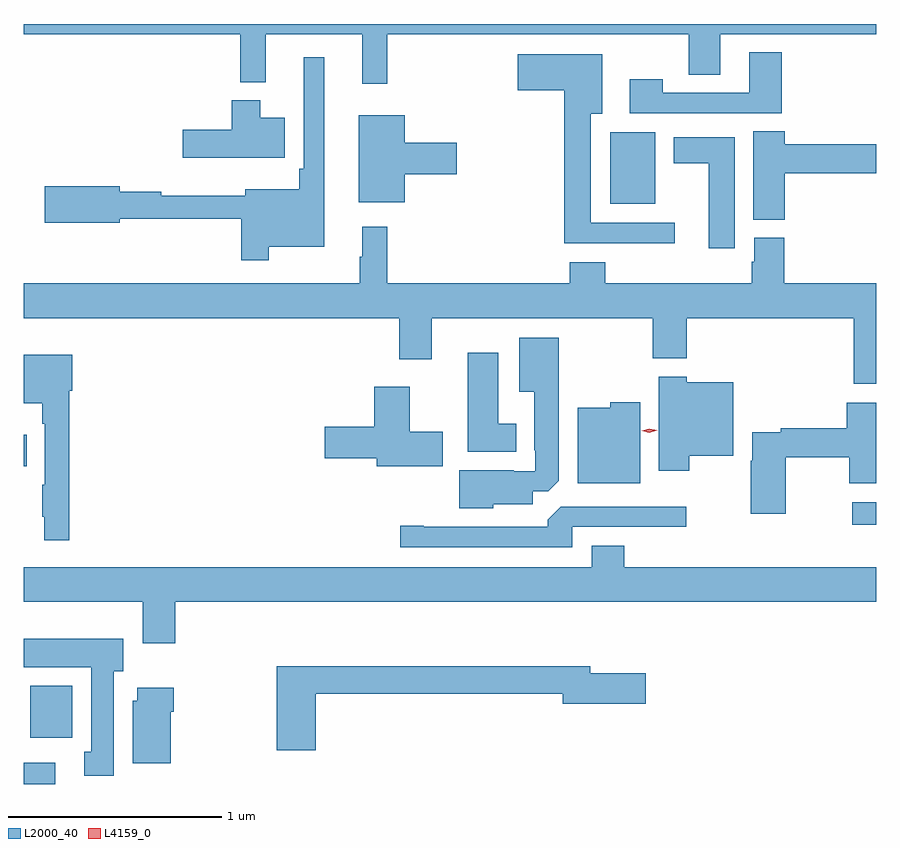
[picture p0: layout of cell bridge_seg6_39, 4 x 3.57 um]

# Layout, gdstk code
import gdstk
lib = gdstk.Library(unit=1e-6, precision=1e-09)
def R(c, l, rs):  # rectangles x0, y0, x1, y1
    for r in rs: c.add(gdstk.rectangle(r[:2], r[2:], *l))
def P(c, l, *ps):  # polygons
    for p in ps: c.add(gdstk.Polygon(p, *l))
L2000_40 = (2000, 40)
L4159_0 = (4159, 0)

bridge_seg6_39 = lib.new_cell('bridge_seg6_39')
R(bridge_seg6_39, L2000_40, [(1068.796,994.434,1068.943,994.534), (1068.827,994.652,1069.024,994.894), (1072.683,995.651,1072.796,995.755), (1068.796,995.926,1068.809,996.073), (1071.548,997.157,1071.76,997.492)])
P(bridge_seg6_39, L2000_40, [(1070.501,997.952),(1071.916,997.952),(1071.916,997.762),(1072.063,997.762),(1072.063,997.952),(1072.796,997.952),(1072.796,998),(1068.796,998),(1068.796,997.952),(1069.813,997.952),(1069.813,997.727),(1069.931,997.727),(1069.931,997.952),(1070.384,997.952),(1070.384,997.719),(1070.501,997.719)],
  [(1072.352,997.867),(1072.199,997.867),(1072.199,997.677),(1071.795,997.677),(1071.795,997.741),(1071.639,997.741),(1071.639,997.581),(1072.352,997.581)],
  [(1071.85,997.068),(1071.457,997.068),(1071.457,997.58),(1071.511,997.58),(1071.511,997.858),(1071.114,997.858),(1071.114,997.688),(1071.332,997.688),(1071.332,996.971),(1071.85,996.971)],
  [(1069.945,996.956),(1070.206,996.956),(1070.206,997.843),(1070.109,997.843),(1070.109,997.321),(1070.089,997.321),(1070.089,997.225),(1069.835,997.225),(1069.835,997.195),(1069.442,997.195),(1069.442,997.214),(1069.246,997.214),(1069.246,997.238),(1068.894,997.238),(1068.894,997.067),(1069.246,997.067),(1069.246,997.086),(1069.816,997.086),(1069.816,996.891),(1069.945,996.891)],
  [(1070.02,997.561),(1069.906,997.561),(1069.906,997.642),(1069.772,997.642),(1069.772,997.503),(1069.542,997.503),(1069.542,997.373),(1070.02,997.373)],
  [(1070.584,997.295),(1070.827,997.295),(1070.827,997.442),(1070.584,997.442),(1070.584,997.573),(1070.369,997.573),(1070.369,997.163),(1070.584,997.163)],
  [(1072.367,997.3),(1072.796,997.3),(1072.796,997.436),(1072.367,997.436),(1072.367,997.496),(1072.22,997.496),(1072.22,997.081),(1072.367,997.081)],
  [(1072.132,997.468),(1071.845,997.468),(1071.845,997.346),(1072.01,997.346),(1072.01,996.948),(1072.132,996.948)],
  [(1072.796,996.784),(1072.364,996.784),(1072.364,996.996),(1072.223,996.996),(1072.223,996.885),(1072.211,996.885),(1072.211,996.784),(1071.524,996.784),(1071.524,996.883),(1071.359,996.883),(1071.359,996.784),(1070.501,996.784),(1070.501,997.048),(1070.384,997.048),(1070.384,996.908),(1070.373,996.908),(1070.373,996.784),(1068.796,996.784),(1068.796,996.62),(1070.558,996.62),(1070.558,996.426),(1070.71,996.426),(1070.71,996.62),(1071.748,996.62),(1071.748,996.431),(1071.908,996.431),(1071.908,996.62),(1072.69,996.62),(1072.69,996.312),(1072.796,996.312)],
  [(1071,995.747),(1071.184,995.747),(1071.184,995.808),(1071.258,995.808),(1071.307,995.857),(1071.307,996.529),(1071.122,996.529),(1071.122,996.275),(1071.191,996.275),(1071.191,996.001),(1071.195,996.001),(1071.195,995.901),(1071.095,995.901),(1071.095,995.905),(1070.84,995.905),(1070.84,995.729),(1071,995.729)],
  [(1071.106,996.124),(1071.022,996.124),(1071.022,996.457),(1070.879,996.457),(1070.879,995.993),(1071.106,995.993)],
  [(1069.01,996.278),(1069.024,996.278),(1069.024,996.448),(1068.796,996.448),(1068.796,996.221),(1068.882,996.221),(1068.882,996.125),(1068.894,996.125),(1068.894,995.837),(1068.882,995.837),(1068.882,995.689),(1068.893,995.689),(1068.893,995.577),(1069.01,995.577)],
  [(1071.918,995.975),(1072.126,995.975),(1072.126,996.319),(1071.906,996.319),(1071.906,996.346),(1071.776,996.346),(1071.776,995.904),(1071.918,995.904)],
  [(1070.761,996.087),(1070.608,996.087),(1070.608,996.298),(1070.441,996.298),(1070.441,996.11),(1070.208,996.11),(1070.208,995.963),(1070.453,995.963),(1070.453,995.924),(1070.761,995.924)],
  [(1071.688,996.226),(1071.549,996.226),(1071.549,996.199),(1071.395,996.199),(1071.395,995.846),(1071.688,995.846)],
  [(1072.372,995.968),(1072.67,995.968),(1072.67,995.846),(1072.796,995.846),(1072.796,996.223),(1072.658,996.223),(1072.658,996.104),(1072.348,996.104),(1072.348,996.084),(1072.214,996.084),(1072.214,995.951),(1072.207,995.951),(1072.207,995.703),(1072.372,995.703)],
  [(1071.369,995.64),(1071.904,995.64),(1071.904,995.736),(1071.315,995.736),(1071.254,995.674),(1071.254,995.64),(1070.674,995.64),(1070.674,995.645),(1070.562,995.645),(1070.562,995.544),(1071.369,995.544)],
  [(1069.508,995.288),(1072.796,995.288),(1072.796,995.452),(1071.614,995.452),(1071.614,995.551),(1071.461,995.551),(1071.461,995.452),(1068.796,995.452),(1068.796,995.288),(1069.355,995.288),(1069.355,995.094),(1069.508,995.094)],
  [(1069.219,994.962),(1069.264,994.962),(1069.264,995.116),(1068.796,995.116),(1068.796,994.982),(1069.112,994.982),(1069.112,994.586),(1069.079,994.586),(1069.079,994.473),(1069.219,994.473)],
  [(1070.165,994.858),(1071.326,994.858),(1071.326,994.811),(1071.715,994.811),(1071.715,994.953),(1071.454,994.953),(1071.454,994.987),(1069.982,994.987),(1069.982,994.593),(1070.165,994.593)],
  [(1069.486,994.772),(1069.499,994.772),(1069.499,994.885),(1069.328,994.885),(1069.328,994.824),(1069.307,994.824),(1069.307,994.532),(1069.486,994.532)])
P(bridge_seg6_39, L4159_0, [(1071.732,996.082),(1071.695,996.091),(1071.695,996.091),(1071.695,996.092),(1071.732,996.102),(1071.768,996.093),(1071.769,996.093),(1071.768,996.093)])

lib.write_gds('bridge_seg6_39.gds')
